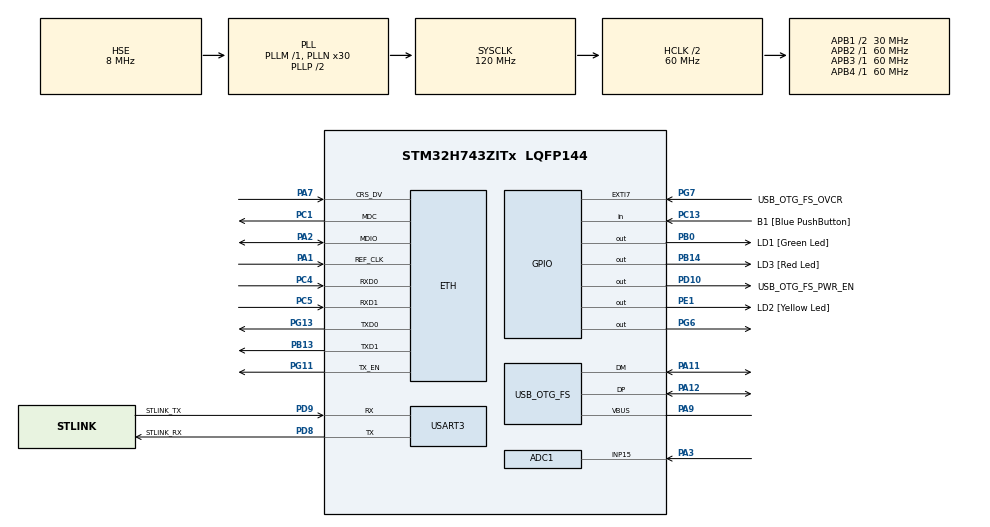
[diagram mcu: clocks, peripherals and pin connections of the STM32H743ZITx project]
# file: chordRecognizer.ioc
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ADC1.Channel-1\#ChannelRegularConversion=ADC_CHANNEL_15
ADC1.ConversionDataManagement=ADC_CONVERSIONDATA_DMA_ONESHOT
ADC1.ExternalTrigConv=ADC_EXTERNALTRIG_T1_TRGO
ADC1.NbrOfConversionFlag=1
ADC1.OffsetNumber-1\#ChannelRegularConversion=ADC_OFFSET_NONE
ADC1.OffsetSignedSaturation-1\#ChannelRegularConversion=DISABLE
ADC1.Rank-1\#ChannelRegularConversion=1
ADC1.SamplingTime-1\#ChannelRegularConversion=ADC_SAMPLETIME_1CYCLE_5
ADC1.master=1
Dma.ADC1.0.Direction=DMA_PERIPH_TO_MEMORY
Dma.ADC1.0.EventEnable=DISABLE
Dma.ADC1.0.FIFOMode=DMA_FIFOMODE_DISABLE
Dma.ADC1.0.Instance=DMA1_Stream0
Dma.ADC1.0.MemDataAlignment=DMA_MDATAALIGN_HALFWORD
Dma.ADC1.0.MemInc=DMA_MINC_ENABLE
Dma.ADC1.0.Mode=DMA_NORMAL
Dma.ADC1.0.PeriphDataAlignment=DMA_PDATAALIGN_HALFWORD
Dma.ADC1.0.PeriphInc=DMA_PINC_DISABLE
Dma.ADC1.0.Polarity=HAL_DMAMUX_REQ_GEN_RISING
Dma.ADC1.0.Priority=DMA_PRIORITY_LOW
Dma.ADC1.0.RequestNumber=1
Dma.ADC1.0.SignalID=NONE
Dma.ADC1.0.SyncEnable=DISABLE
Dma.ADC1.0.SyncPolarity=HAL_DMAMUX_SYNC_NO_EVENT
Dma.ADC1.0.SyncRequestNumber=1
Dma.ADC1.0.SyncSignalID=NONE
Dma.Request0=ADC1
ETH.MediaInterface=HAL_ETH_RMII_MODE
Mcu.Family=STM32H7
Mcu.Name=STM32H743ZITx
Mcu.Package=LQFP144
NVIC.DMA1_Stream0_IRQn=true\:0\:0\:false\:false\:true\:false\:true\:true
NVIC.OTG_FS_IRQn=true\:0\:0\:false\:false\:true\:true\:true\:true
NVIC.PriorityGroup=NVIC_PRIORITYGROUP_4
PA1.Mode=RMII
PA1.Signal=ETH_REF_CLK
PA11.Mode=Host_Only
PA11.Signal=USB_OTG_FS_DM
PA12.Mode=Host_Only
PA12.Signal=USB_OTG_FS_DP
PA2.Mode=RMII
PA2.Signal=ETH_MDIO
PA3.Signal=ADCx_INP15
PA7.Mode=RMII
PA7.Signal=ETH_CRS_DV
PA8.Signal=USB_OTG_FS_SOF
PA9.Mode=Activate_VBUS
PA9.Signal=USB_OTG_FS_VBUS
PB0.GPIO_Label=LD1 [Green Led]
PB0.Signal=GPIO_Output
PB13.Mode=RMII
PB13.Signal=ETH_TXD1
PB14.GPIO_Label=LD3 [Red Led]
PB14.Signal=GPIO_Output
PC1.Mode=RMII
PC1.Signal=ETH_MDC
PC13.GPIO_Label=B1 [Blue PushButton]
PC13.Signal=GPIO_Input
PC14-OSC32_IN\ (OSC32_IN).Mode=LSE-External-Oscillator
PC14-OSC32_IN\ (OSC32_IN).Signal=RCC_OSC32_IN
PC15-OSC32_OUT\ (OSC32_OUT).Mode=LSE-External-Oscillator
PC15-OSC32_OUT\ (OSC32_OUT).Signal=RCC_OSC32_OUT
PC4.Mode=RMII
PC4.Signal=ETH_RXD0
PC5.Mode=RMII
PC5.Signal=ETH_RXD1
PD10.GPIO_Label=USB_OTG_FS_PWR_EN
PD10.Signal=GPIO_Output
PD8.GPIO_Label=STLINK_RX
PD8.Mode=Asynchronous
PD8.Signal=USART3_TX
PD9.GPIO_Label=STLINK_TX
PD9.Mode=Asynchronous
PD9.Signal=USART3_RX
PE1.GPIO_Label=LD2 [Yellow Led]
PE1.Signal=GPIO_Output
PG11.Mode=RMII
PG11.Signal=ETH_TX_EN
PG13.Mode=RMII
PG13.Signal=ETH_TXD0
PG6.Signal=GPIO_Output
PG7.GPIO_Label=USB_OTG_FS_OVCR
PG7.Signal=GPXTI7
PH0-OSC_IN\ (PH0).Mode=HSE-External-Clock-Source
PH0-OSC_IN\ (PH0).Signal=RCC_OSC_IN
PH1-OSC_OUT\ (PH1).Signal=RCC_OSC_OUT
ProjectManager.HeapSize=0x200
ProjectManager.StackSize=0x400
ProjectManager.TargetToolchain=STM32CubeIDE
RCC.ADCFreq_Value=50000000
RCC.APB1Freq_Value=30000000
RCC.APB2Freq_Value=60000000
RCC.APB3Freq_Value=60000000
RCC.APB4Freq_Value=60000000
RCC.CortexFreq_Value=60000000
RCC.D1CPRE=RCC_SYSCLK_DIV2
RCC.D2PPRE1=RCC_APB1_DIV2
RCC.DIVM1=1
RCC.DIVM2=1
RCC.DIVN1=30
RCC.DIVN2=18
RCC.DIVP2=3
RCC.DIVQ1=4
RCC.HCLKFreq_Value=60000000
RCC.HSE_VALUE=8000000
RCC.PLL2FRACN=6144
RCC.PLL3FRACN=0
RCC.PLLFRACN=0
RCC.PWR_Regulator_Voltage_Scale=PWR_REGULATOR_VOLTAGE_SCALE2
RCC.SYSCLKFreq_VALUE=120000000
RCC.SYSCLKSource=RCC_SYSCLKSOURCE_PLLCLK
RCC.USBFreq_Value=60000000
SH.ADCx_INP15.0=ADC1_INP15,IN15-Single-Ended
TIM1.Period=7500-1
TIM1.TIM_MasterOutputTrigger=TIM_TRGO_UPDATE
USART3.VirtualMode-Asynchronous=VM_ASYNC
USB_HOST.BSP.number=1
USB_HOST.USBH_HandleTypeDef-MSC_FS=hUsbHostFS
USB_HOST.VirtualModeFS=Msc
USB_HOST0.BSP.STBoard=false
USB_HOST0.BSP.api=Unknown
USB_HOST0.BSP.instance=PG6
USB_HOST0.BSP.ip=GPIO
USB_HOST0.BSP.mode=Output
USB_HOST0.BSP.name=Drive_VBUS_FS
USB_HOST0.BSP.solution=PG6
USB_OTG_FS.VirtualMode=Host_Only
USB_OTG_FS.phy_itface=HCD_PHY_EMBEDDED
VP_FATFS_VS_USB.Mode=USB
VP_TIM1_VS_ClockSourceINT.Mode=Internal
VP_USB_HOST_VS_USB_HOST_MSC_FS.Mode=MSC_FS
board=NUCLEO-H743ZI2

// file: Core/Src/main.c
/* USER CODE BEGIN Header */
/**
  ******************************************************************************
  * @file           : main.c
  * @brief          : Main program body
  ******************************************************************************
  * @attention
  *
  * Copyright (c) 2022 STMicroelectronics.
  * All rights reserved.
  *
  * This software is licensed under terms that can be found in the LICENSE file
  * in the root directory of this software component.
  * If no LICENSE file comes with this software, it is provided AS-IS.
  *
  ******************************************************************************
  */
/* USER CODE END Header */
#include "main.h"
#include "string.h"
#include "fatfs.h"
#include "usb_host.h"

/* USER CODE BEGIN Includes */
#include "arm_math.h"
#include "my_mfcc.h"
#include "svm.h"
#include <stdio.h>
#include <stdlib.h>
#include <math.h>
#include <time.h>

#define ARM_MATH_CM7
//#define __FPU_PRESENT 1

#define ADC_BUF_SIZE 4*8000
uint16_t ADC_buff[ADC_BUF_SIZE];

uint16_t LPF_buff[ADC_BUF_SIZE];

float32_t ADC_buff_norm[ADC_BUF_SIZE];
float *voice_buff;
int record_done=0;
uint8_t name[20];//name of the file
// USB FatFs
extern ApplicationTypeDef Appli_state;
void writeFile(char filename[],  int16_t *vec, int size);
int loadSVMParams(char filename[], struct svm_model* model);
float compute_power(uint16_t size_in, float *buff_in);
float32_t *removeSilence(uint16_t size_in, float32_t *buff_in, uint16_t *size_out);

#define pi 3.14159265358979323846
#define FFTSize 512

#define n_mfcc 13
uint32_t n_mels = 20;
char chords[12][3] = {"C","Df","D","Ef","E","F",
        			"Gf","G","Af","A","Bf","B"};

uint32_t sample_rate = 8000;
uint32_t freq_min = 0;
uint32_t freq_max = 4000;

float32_t complex_buff[FFTSize*2];
float32_t power_spec_buff[FFTSize/2+1];

float32_t filt_spec_buff[20];
float32_t dct_spec_buff[20];

float sig_mean = 0.0;
uint16_t sig_val = 0;

/* USER CODE END Includes */

#if defined ( __ICCARM__ ) /*!< IAR Compiler */
#pragma location=0x30000000
ETH_DMADescTypeDef  DMARxDscrTab[ETH_RX_DESC_CNT]; /* Ethernet Rx DMA Descriptors */
#pragma location=0x30000200
ETH_DMADescTypeDef  DMATxDscrTab[ETH_TX_DESC_CNT]; /* Ethernet Tx DMA Descriptors */

#elif defined ( __CC_ARM )  /* MDK ARM Compiler */

__attribute__((at(0x30000000))) ETH_DMADescTypeDef  DMARxDscrTab[ETH_RX_DESC_CNT]; /* Ethernet Rx DMA Descriptors */
__attribute__((at(0x30000200))) ETH_DMADescTypeDef  DMATxDscrTab[ETH_TX_DESC_CNT]; /* Ethernet Tx DMA Descriptors */

#elif defined ( __GNUC__ ) /* GNU Compiler */
ETH_DMADescTypeDef DMARxDscrTab[ETH_RX_DESC_CNT] __attribute__((section(".RxDecripSection"))); /* Ethernet Rx DMA Descriptors */
ETH_DMADescTypeDef DMATxDscrTab[ETH_TX_DESC_CNT] __attribute__((section(".TxDecripSection")));   /* Ethernet Tx DMA Descriptors */

#endif

ETH_TxPacketConfig TxConfig;

ADC_HandleTypeDef hadc1;
DMA_HandleTypeDef hdma_adc1;

ETH_HandleTypeDef heth;

TIM_HandleTypeDef htim1;

UART_HandleTypeDef huart3;

void SystemClock_Config(void);
static void MX_GPIO_Init(void);
static void MX_DMA_Init(void);
static void MX_USART3_UART_Init(void);
static void MX_ETH_Init(void);
static void MX_ADC1_Init(void);
static void MX_TIM1_Init(void);
void MX_USB_HOST_Process(void);

/* USER CODE BEGIN 0 */

float *removeSilence(uint16_t size_in, float32_t *buff_in, uint16_t *size_out)
{
	int slide_start, slide_end, start=0, end=size_in, max_idx;
	float max_val=0, avg_power = 0,slide_power = 0.0, threshold = 0.0;
	float *buff_out;
	for(int i=0; i<size_in - 64; i++){
		slide_start = i;
		slide_end = i + 64;
		avg_power = compute_power(64, &buff_in[slide_start]);
		if(avg_power > max_val){

			max_idx = i+32;
			max_val = avg_power;
		}
	}

    slide_start = max_idx - 32;
    slide_end = max_idx + 32;
    avg_power = compute_power(64, &buff_in[slide_start]);

    threshold = 0.125 * avg_power;
    for(int i=max_idx; i<(size_in-32); i++){
        slide_start = i - 32;
        slide_end = i + 32;
        slide_power = compute_power(64, &buff_in[slide_start]);
		if (slide_power < threshold){
			end = slide_end;
			break;
		}
    }
    for(int i=max_idx; i>32; i--){

        slide_start = i - 32;
        slide_end = i + 32;

        slide_power = compute_power(64, &buff_in[slide_start]);
        if (slide_power < threshold){
            start = slide_start;
            break;
        }
    }

	*size_out = end - start;
	if(*size_out > 3*FFTSize){
		// allocate memory for buff_out
		buff_out = (float32_t *)malloc(sizeof(float32_t)*(*size_out));
		for(int i=0; i<*size_out; i++){
			buff_out[i] = buff_in[i+start];
//			n = i;
		}

		return buff_out;
	} else {
		 Error_Handler();
	}

}
float compute_power(uint16_t size_in, float32_t *buff_in)
{
	float acc=0.0;
	for(int i=0; i<size_in; i++){
		acc += buff_in[i] * buff_in[i];
	}
	return sqrtf(acc)/size_in;
}

//
void normalizeSignal(int size, uint16_t *buff_in, float32_t *buff_out);
void normalizeSignal(int size, uint16_t *buff_in, float32_t *buff_out)

{
	int i;
	float mean_val = 0.0, std_val= 0.0;

	for(i = 0; i < size; i++) {
		mean_val += buff_in[i];
	}
	mean_val = mean_val /size;

	for(i = 0; i < size; i++) {
		std_val += powf(buff_in[i] - mean_val,2.0);
	}
	std_val = sqrtf(std_val /size);

	for(i=0; i<size; i++){
		buff_out[i] = ((float32_t)buff_in[i] - mean_val)/(std_val);
	}

}

//void scale_feature()

float freqToMel(float freq);
float melToFreq(float mel);
void powerToDB(uint32_t size, float32_t *real_buff);
void convertToComplex(int size, const float32_t *real_buff, float32_t *complex_buff);
void powerSpectrum(uint32_t size, const float32_t *complex_buff, float32_t *real_buff);
void filteredSpectrum( uint32_t sr, uint32_t n_fft, uint32_t n_mels, float32_t freq_min,
						float32_t freq_max, const float32_t *power_spec_buff,float32_t *filtered_spec);

void normalizeFeature(int size, float *feature, float *mean, float *scale);
/**
 * convert real array to complex array for cFFT
 * example:
 * input real_buff=[1.1, 1.2, 1.3, 1.4, 1.5]
 * output complex_buff=[1.1, 0, 1.2, 0, 1.3, 0, 1.4, 0, 1.5, 0]
 */
void convertToComplex(int size, const float32_t *real_buff, float32_t *complex_buff)
{
	  for(int i = 0; i < size; i++){
		  complex_buff[2*i] = real_buff[i];
		  complex_buff[2*i + 1] = 0;
	  }
}

/**
 * compute power spectrum from FFT complex buff
 * |complex_buff|^2
 * since FFT complex buff is symmetric, only half of this buff is needed
 */
void powerSpectrum(uint32_t size, const float32_t *complex_buff, float32_t *real_buff)
{
	  for(int i=0; i < (size/2+1); i++){
		  real_buff[i] = powf(fabsf(complex_buff[2*i]), 2) + powf(fabsf(complex_buff[2*i + 1]), 2);
	  }
}

/**
 * log transformation
 * real_buff = log(real_buff)
 * in-place operation, real_buff will be updated
 * **/
void powerToDB(uint32_t size, float32_t *real_buff){
	for(int i=0; i<size; i++){
		if(real_buff[i] < 0){
			exit(0); // power spectrum must be non-negative
		}
		real_buff[i] = 10*log10f(real_buff[i]);

//		real_buff[i] = 10*log10f(real_buff[i]);
	}
}

/**
 * Discrete Cosine Transform (DCT type-II)
 * More details refer to https://docs.scipy.org/doc/scipy/reference/generated/scipy.fftpack.dct.html
 */
void dctTransform(uint32_t size, float32_t *buff_in, float32_t *buff_out)
{
	float acc, scale;

	for (int i = 0; i < size; i++) {
		acc = 0.0;
		for (int j = 0; j < size; j++) {
			acc += buff_in[j] * cosf(pi * (j + 0.5) * i / size);
		}
		scale = (i==0) ? sqrtf(1.0/(4.0 * size)) * 2: sqrtf(1.0/(2.0 *size)) * 2;
		buff_out[i] = acc * scale;
	}
}

/**
 * triangular filter band
 */
void filteredSpectrum( uint32_t sr, uint32_t n_fft, uint32_t n_mels, float32_t freq_min,
						float32_t freq_max, const float *power_spec_buff,float *filtered_spec)
{
	float fmin_mel, fmax_mel, mel_step, linear_freq_step, inner_sum;

	int i=0, jth_filter=0;

	float filter[n_fft/2+1];  			// size 257
	float mels[n_mels+2];        		// size 22
	float mels_f[n_mels+2];        	// size 22
	float linar_freq[n_fft/2+1];
	float upper[n_fft/2+1], lower[n_fft/2+1];
	float enorm[n_mels];                // size 20

	fmin_mel = freqToMel(freq_min); 		// 0.0
	fmax_mel = freqToMel(freq_max); 		// 2840.0377

	/** Center freqs of each FFT bin **/
	linear_freq_step =  (sr/2.0 - freq_min)/(n_fft/2);
	for(i=0; i<(n_fft/2+1); i++){
		linar_freq[i] = i*linear_freq_step;
	}

	/** 'Center freqs' of mel bands - uniformly spaced between limits **/
	mel_step =  (fmax_mel - fmin_mel)/(n_mels + 1);
	for(i=0; i<(n_mels+2); i++){
		mels[i] = i*mel_step;
	}
	for(i=0; i<(n_mels+2); i++){
		mels_f[i] = melToFreq(mels[i]);
	}

	/** Slaney-style mel is scaled to be approx constant energy per channel **/
	for(i=0; i<n_mels; i++){
		enorm[i] = 2.0 / (mels_f[i+2] - mels_f[i]);
	}

	/**
	 * iterate all filters
	 */
	for(jth_filter=0; jth_filter<n_mels; jth_filter++){

		/** update upper/lower slop of filter bins**/
		for(i=0; i<(n_fft/2+1); i++){
			lower[i] = (linar_freq[i] - mels_f[jth_filter]) / (mels_f[jth_filter+1]-mels_f[jth_filter]);
		}
		for(i=0; i<(n_fft/2+1); i++){
			upper[i] = (mels_f[jth_filter+2] - linar_freq[i])/ (mels_f[jth_filter+2]-mels_f[jth_filter+1]);
		}

		/** compute filter matrix **/
		for(i=0; i<(n_fft/2+1); i++){
			filter[i] = fmaxf(0, fminf(upper[i], lower[i]));
		}

		/** normalize filter matrix **/
		for(i=0; i<(n_fft/2+1); i++){
			filter[i] *=  enorm[jth_filter];
		}

		/** compute filtered spectrum **/
		inner_sum = 0;
		for(i=0; i<(n_fft/2+1); i++){
			if(filter[i] == 0){
				continue;        //skip zero multiplication
			} else {
				inner_sum += filter[i] * power_spec_buff[i];
			}
		}
		filtered_spec[jth_filter] = inner_sum;
	}

}

float freqToMel(float freq)
{
	return 1127.01048 * log(1 + freq / 700.0);
}

float melToFreq(float mel)
{
	return 700 * (exp(mel / 1127.01048) - 1);
}

/**
 * add hamming window to input signal
 * in-place operation
 */
void hammingWindow(int size, float *real_buff)
{
	float hamming[size];
	for (int i = 0; i < size; i++){
		hamming[i] = 0.54 - 0.46 * cosf(2.0 * (22.0/7.0) * i / (size));
	}

	for (int i = 0; i < size; i++){
		real_buff[i] *= hamming[i];
	}
}

void normalizeFeature(int size, float *feature, float *scaler_min, float *scaler_max)
{

// (X_train.to_numpy()[0] - scaler.data_min_)/(scaler.data_max_ - scaler.data_min_)
	for(int i=0; i<size; i++){
		feature[i] = (feature[i] - scaler_min[i])/(scaler_max[i] - scaler_min[i]);
	}
}
/**
 * compare two vectors
 * if their RMSE value is larger than tolerance, return 1
 * else return 0
 */
int rmse_check(float *a, float *b, int size, float tol)
{
	float error = 0;
	for(int i=0; i<size; i++){
		error += powf(a[i] - b[i], 2);
	}
	error = sqrtf(error/size);

	if(error > tol){
		return 1;
	}
	else {
		return 0;
	}
}

/* USER CODE END 0 */

int main(void)
{

  /* MCU Configuration--------------------------------------------------------*/

  /* Reset of all peripherals, Initializes the Flash interface and the Systick. */

	HAL_Init();

  /* Configure the system clock */
  SystemClock_Config();

  /* Initialize all configured peripherals */
  MX_GPIO_Init();
  MX_DMA_Init();
  MX_USART3_UART_Init();
  MX_ETH_Init();
  MX_ADC1_Init();
  MX_TIM1_Init();
  MX_USB_HOST_Init();
  MX_FATFS_Init();
  /* USER CODE BEGIN 2 */
  if(HAL_ADCEx_Calibration_Start(&hadc1, ADC_CALIB_OFFSET, ADC_SINGLE_ENDED) != HAL_OK){
	  Error_Handler();
  }
  HAL_TIM_Base_Start(&htim1);

  int tests_res = -1;
  // set it to read certain chords from flashdrive
 // tests = 1 -> C, tests = 2 -> C#, etc...
 // tests = 12 -> B
  int tests =2;
  char test_name[20];

  // load SVM parameters from USB
	svm_model model;

	while(1){
		MX_USB_HOST_Process();

		if(Appli_state == APPLICATION_READY) {

////			 read testing voice
//		    voice_buff = read_txt(test_name, ADC_BUF_SIZE);
//		    for(int i=0; i<ADC_BUF_SIZE; i++) {
//		    	ADC_buff[i] = voice_buff[i];
//		    }
//		    free(voice_buff);

		    // load SVM parameters
			loadSVMParams("svmmodel.txt", &model);
			break; 		// load parameter successfully, break while loop

		}
	}

// place breakpoint before recording
	if(HAL_ADC_Start_DMA(&hadc1, (uint32_t *)&ADC_buff, ADC_BUF_SIZE) != HAL_OK){

		Error_Handler();
	}
	while(1) {
		if (record_done == 1) {
			record_done = 0;
			break;
		}
	}
// recording stopped
//
////////	print the values
//    for(int i = 0; i < ADC_BUF_SIZE ; i++) {
//
////    	sig_val = real_voice[i];
//    	printf("%d\n", ADC_buff[i]);
//
//    	HAL_Delay(0.25);
//    }

  /* USER CODE END 2 */

  /* Infinite loop */
  while (1)
  {
    MX_USB_HOST_Process();

    /* USER CODE BEGIN 3 */

	/**  Normalize signal, same range to training set **/

	normalizeSignal(ADC_BUF_SIZE, ADC_buff, ADC_buff_norm);

	/** Remove silence **/
	float32_t *voice_signal;
	uint16_t size_out = 0;
	voice_signal = removeSilence(ADC_BUF_SIZE, ADC_buff_norm, &size_out);   // not robust

	/** Framing **/

	int overlap_size = 128;
	int n_frames = 0;
	while(size_out - FFTSize + overlap_size > 0) {
		size_out -= FFTSize - overlap_size;
		n_frames++;
	}
	if(n_frames < 3){
		Error_Handler();  // we need concatenate 3 frames' MFCC as input features
	}

	int n_res=n_frames/3-1, res;
	int vote_res[model.n_class];
	for(int i=0; i<model.n_class; i++)
		vote_res[i] = 0;

	float32_t mfcc_feature[3*n_mfcc];
//	float32_t mfcc_feature[n_mfcc];
	float32_t frame[FFTSize];

	arm_cfft_instance_f32 fft_handler;
	arm_cfft_init_f32(&fft_handler, 512);

	for(int k=0; k<n_res; k++) {

		for(int i=0; i<3; i++)
//		for (int i = 0 ; i < n_frames; i++)
		{

			/** get a frame**/
			for(int j=0; j<FFTSize; j++){
				frame[j] = voice_signal[k*(1280-overlap_size) + i*(FFTSize-overlap_size) + j];
//				frame[j] = voice_signal[i*(FFTSize-overlap_size) + j];
			}

			/** add hamming window to a frame**/
			hammingWindow(FFTSize, frame);
	//		rmse_check(debug, win_ref, FFTSize, 0.01);

			/** FFT **/
			convertToComplex(FFTSize, frame, complex_buff);

			arm_cfft_f32(&fft_handler, complex_buff, 0, 1);

			/** compute power spectrum**/
			powerSpectrum(FFTSize, complex_buff, power_spec_buff); // power_spec_buff size: FFTSize/2 + 1 = 257

			/** compute filter bank, and use it to get filtered spectrum **/
			filteredSpectrum(sample_rate, FFTSize, n_mels, freq_min, freq_max, power_spec_buff, filt_spec_buff);

			/** log transformation **/
		 	powerToDB(n_mels, filt_spec_buff);

			/**  Discrete Cosine Transform (DCT type-II) **/
			dctTransform(n_mels, filt_spec_buff, dct_spec_buff);

			/**  Concate 3 frame's MFCC features**/
			for(int j=0; j<n_mfcc; j++){
				mfcc_feature[i * n_mfcc + j] = dct_spec_buff[j];
//				mfcc_feature[j] = dct_spec_buff[j];
			}

		}

		/**  normalize MFCC feature **/
		normalizeFeature(model.n_feature, mfcc_feature, model.scaler_min, model.scaler_max);

		 // testing voice result
		 res = svmPredict(mfcc_feature, &model);
		 vote_res[res]++;

  }
//	find the chord with most votes
	int wwcd = 0;
	int the_winner = -1;

	for(int i = 0; i < model.n_class; i++) {
		if(vote_res[i] > the_winner) {
			wwcd = i;
			the_winner = vote_res[i];
		}
	}

	printf("%s major chord.\n", chords[wwcd]);

	wwcd++;
	tests_res = wwcd;

	while(1);
	/*************Write your code start***************/

	// SWV print final results / Or check final results on live expression window

	/*************Write your code End***************/

  }
  /* USER CODE END 3 */
}

void SystemClock_Config(void)
{
  RCC_OscInitTypeDef RCC_OscInitStruct = {0};
  RCC_ClkInitTypeDef RCC_ClkInitStruct = {0};

  /** Supply configuration update enable
  */
  HAL_PWREx_ConfigSupply(PWR_LDO_SUPPLY);

  /** Configure the main internal regulator output voltage
  */
  __HAL_PWR_VOLTAGESCALING_CONFIG(PWR_REGULATOR_VOLTAGE_SCALE2);

  while(!__HAL_PWR_GET_FLAG(PWR_FLAG_VOSRDY)) {}

  /** Macro to configure the PLL clock source
  */
  __HAL_RCC_PLL_PLLSOURCE_CONFIG(RCC_PLLSOURCE_HSE);

  /** Initializes the RCC Oscillators according to the specified parameters
  * in the RCC_OscInitTypeDef structure.
  */
  RCC_OscInitStruct.OscillatorType = RCC_OSCILLATORTYPE_HSE;
  RCC_OscInitStruct.HSEState = RCC_HSE_BYPASS;
  RCC_OscInitStruct.PLL.PLLState = RCC_PLL_ON;
  RCC_OscInitStruct.PLL.PLLSource = RCC_PLLSOURCE_HSE;
  RCC_OscInitStruct.PLL.PLLM = 1;
  RCC_OscInitStruct.PLL.PLLN = 30;
  RCC_OscInitStruct.PLL.PLLP = 2;
  RCC_OscInitStruct.PLL.PLLQ = 4;
  RCC_OscInitStruct.PLL.PLLR = 2;
  RCC_OscInitStruct.PLL.PLLRGE = RCC_PLL1VCIRANGE_3;
  RCC_OscInitStruct.PLL.PLLVCOSEL = RCC_PLL1VCOWIDE;
  RCC_OscInitStruct.PLL.PLLFRACN = 0;
  if (HAL_RCC_OscConfig(&RCC_OscInitStruct) != HAL_OK)
  {
    Error_Handler();
  }

  /** Initializes the CPU, AHB and APB buses clocks
  */
  RCC_ClkInitStruct.ClockType = RCC_CLOCKTYPE_HCLK|RCC_CLOCKTYPE_SYSCLK
                              |RCC_CLOCKTYPE_PCLK1|RCC_CLOCKTYPE_PCLK2
                              |RCC_CLOCKTYPE_D3PCLK1|RCC_CLOCKTYPE_D1PCLK1;
  RCC_ClkInitStruct.SYSCLKSource = RCC_SYSCLKSOURCE_PLLCLK;
  RCC_ClkInitStruct.SYSCLKDivider = RCC_SYSCLK_DIV2;
  RCC_ClkInitStruct.AHBCLKDivider = RCC_HCLK_DIV1;
  RCC_ClkInitStruct.APB3CLKDivider = RCC_APB3_DIV1;
  RCC_ClkInitStruct.APB1CLKDivider = RCC_APB1_DIV2;
  RCC_ClkInitStruct.APB2CLKDivider = RCC_APB2_DIV1;
  RCC_ClkInitStruct.APB4CLKDivider = RCC_APB4_DIV1;

  if (HAL_RCC_ClockConfig(&RCC_ClkInitStruct, FLASH_LATENCY_1) != HAL_OK)
  {
    Error_Handler();
  }
}

static void MX_ADC1_Init(void)
{

  ADC_MultiModeTypeDef multimode = {0};
  ADC_ChannelConfTypeDef sConfig = {0};

  /** Common config
  */
  hadc1.Instance = ADC1;
  hadc1.Init.ClockPrescaler = ADC_CLOCK_ASYNC_DIV4;
  hadc1.Init.Resolution = ADC_RESOLUTION_16B;
  hadc1.Init.ScanConvMode = ADC_SCAN_DISABLE;
  hadc1.Init.EOCSelection = ADC_EOC_SINGLE_CONV;
  hadc1.Init.LowPowerAutoWait = DISABLE;
  hadc1.Init.ContinuousConvMode = DISABLE;
  hadc1.Init.NbrOfConversion = 1;
  hadc1.Init.DiscontinuousConvMode = DISABLE;
  hadc1.Init.ExternalTrigConv = ADC_EXTERNALTRIG_T1_TRGO;
  hadc1.Init.ExternalTrigConvEdge = ADC_EXTERNALTRIGCONVEDGE_RISING;
  hadc1.Init.ConversionDataManagement = ADC_CONVERSIONDATA_DMA_ONESHOT;
  hadc1.Init.Overrun = ADC_OVR_DATA_PRESERVED;
  hadc1.Init.LeftBitShift = ADC_LEFTBITSHIFT_NONE;
  hadc1.Init.OversamplingMode = DISABLE;
  if (HAL_ADC_Init(&hadc1) != HAL_OK)
  {
    Error_Handler();
  }

  /** Configure the ADC multi-mode
  */
  multimode.Mode = ADC_MODE_INDEPENDENT;
  if (HAL_ADCEx_MultiModeConfigChannel(&hadc1, &multimode) != HAL_OK)
  {
    Error_Handler();
  }

  /** Configure Regular Channel
  */
  sConfig.Channel = ADC_CHANNEL_15;
  sConfig.Rank = ADC_REGULAR_RANK_1;
  sConfig.SamplingTime = ADC_SAMPLETIME_1CYCLE_5;
  sConfig.SingleDiff = ADC_SINGLE_ENDED;
  sConfig.OffsetNumber = ADC_OFFSET_NONE;
  sConfig.Offset = 0;
  sConfig.OffsetSignedSaturation = DISABLE;
  if (HAL_ADC_ConfigChannel(&hadc1, &sConfig) != HAL_OK)
  {
    Error_Handler();
  }

}

static void MX_ETH_Init(void)
{

   static uint8_t MACAddr[6];

  heth.Instance = ETH;
  MACAddr[0] = 0x00;
  MACAddr[1] = 0x80;
  MACAddr[2] = 0xE1;
  MACAddr[3] = 0x00;
  MACAddr[4] = 0x00;
  MACAddr[5] = 0x00;
  heth.Init.MACAddr = &MACAddr[0];
  heth.Init.MediaInterface = HAL_ETH_RMII_MODE;
  heth.Init.TxDesc = DMATxDscrTab;
  heth.Init.RxDesc = DMARxDscrTab;
  heth.Init.RxBuffLen = 1524;

  if (HAL_ETH_Init(&heth) != HAL_OK)
  {
    Error_Handler();
  }

  memset(&TxConfig, 0 , sizeof(ETH_TxPacketConfig));
  TxConfig.Attributes = ETH_TX_PACKETS_FEATURES_CSUM | ETH_TX_PACKETS_FEATURES_CRCPAD;
  TxConfig.ChecksumCtrl = ETH_CHECKSUM_IPHDR_PAYLOAD_INSERT_PHDR_CALC;
  TxConfig.CRCPadCtrl = ETH_CRC_PAD_INSERT;

}

static void MX_TIM1_Init(void)
{

  TIM_ClockConfigTypeDef sClockSourceConfig = {0};
  TIM_MasterConfigTypeDef sMasterConfig = {0};

  htim1.Instance = TIM1;
  htim1.Init.Prescaler = 0;
  htim1.Init.CounterMode = TIM_COUNTERMODE_UP;
  htim1.Init.Period = 7500-1;
  htim1.Init.ClockDivision = TIM_CLOCKDIVISION_DIV1;
  htim1.Init.RepetitionCounter = 0;
  htim1.Init.AutoReloadPreload = TIM_AUTORELOAD_PRELOAD_DISABLE;
  if (HAL_TIM_Base_Init(&htim1) != HAL_OK)
  {
    Error_Handler();
  }
  sClockSourceConfig.ClockSource = TIM_CLOCKSOURCE_INTERNAL;
  if (HAL_TIM_ConfigClockSource(&htim1, &sClockSourceConfig) != HAL_OK)
  {
    Error_Handler();
  }
  sMasterConfig.MasterOutputTrigger = TIM_TRGO_UPDATE;
  sMasterConfig.MasterOutputTrigger2 = TIM_TRGO2_RESET;
  sMasterConfig.MasterSlaveMode = TIM_MASTERSLAVEMODE_DISABLE;
  if (HAL_TIMEx_MasterConfigSynchronization(&htim1, &sMasterConfig) != HAL_OK)
  {
    Error_Handler();
  }

}

static void MX_USART3_UART_Init(void)
{

  huart3.Instance = USART3;
  huart3.Init.BaudRate = 115200;
  huart3.Init.WordLength = UART_WORDLENGTH_8B;
  huart3.Init.StopBits = UART_STOPBITS_1;
  huart3.Init.Parity = UART_PARITY_NONE;
  huart3.Init.Mode = UART_MODE_TX_RX;
  huart3.Init.HwFlowCtl = UART_HWCONTROL_NONE;
  huart3.Init.OverSampling = UART_OVERSAMPLING_16;
  huart3.Init.OneBitSampling = UART_ONE_BIT_SAMPLE_DISABLE;
  huart3.Init.ClockPrescaler = UART_PRESCALER_DIV1;
  huart3.AdvancedInit.AdvFeatureInit = UART_ADVFEATURE_NO_INIT;
  if (HAL_UART_Init(&huart3) != HAL_OK)
  {
    Error_Handler();
  }
  if (HAL_UARTEx_SetTxFifoThreshold(&huart3, UART_TXFIFO_THRESHOLD_1_8) != HAL_OK)
  {
    Error_Handler();
  }
  if (HAL_UARTEx_SetRxFifoThreshold(&huart3, UART_RXFIFO_THRESHOLD_1_8) != HAL_OK)
  {
    Error_Handler();
  }
  if (HAL_UARTEx_DisableFifoMode(&huart3) != HAL_OK)
  {
    Error_Handler();
  }

}

static void MX_DMA_Init(void)
{

  /* DMA controller clock enable */
  __HAL_RCC_DMA1_CLK_ENABLE();

  /* DMA interrupt init */
  /* DMA1_Stream0_IRQn interrupt configuration */
  HAL_NVIC_SetPriority(DMA1_Stream0_IRQn, 0, 0);
  HAL_NVIC_EnableIRQ(DMA1_Stream0_IRQn);

}

static void MX_GPIO_Init(void)
{
  GPIO_InitTypeDef GPIO_InitStruct = {0};

  /* GPIO Ports Clock Enable */
  __HAL_RCC_GPIOC_CLK_ENABLE();
  __HAL_RCC_GPIOH_CLK_ENABLE();
  __HAL_RCC_GPIOA_CLK_ENABLE();
  __HAL_RCC_GPIOB_CLK_ENABLE();
  __HAL_RCC_GPIOD_CLK_ENABLE();
  __HAL_RCC_GPIOG_CLK_ENABLE();
  __HAL_RCC_GPIOE_CLK_ENABLE();

  /*Configure GPIO pin Output Level */
  HAL_GPIO_WritePin(GPIOB, LD1_Pin|LD3_Pin, GPIO_PIN_RESET);

  /*Configure GPIO pin Output Level */
  HAL_GPIO_WritePin(USB_OTG_FS_PWR_EN_GPIO_Port, USB_OTG_FS_PWR_EN_Pin, GPIO_PIN_RESET);

  /*Configure GPIO pin Output Level */
  HAL_GPIO_WritePin(GPIOG, GPIO_PIN_6, GPIO_PIN_RESET);

  /*Configure GPIO pin Output Level */
  HAL_GPIO_WritePin(LD2_GPIO_Port, LD2_Pin, GPIO_PIN_RESET);

  /*Configure GPIO pin : B1_Pin */
  GPIO_InitStruct.Pin = B1_Pin;
  GPIO_InitStruct.Mode = GPIO_MODE_INPUT;
  GPIO_InitStruct.Pull = GPIO_NOPULL;
  HAL_GPIO_Init(B1_GPIO_Port, &GPIO_InitStruct);

  /*Configure GPIO pins : LD1_Pin LD3_Pin */
  GPIO_InitStruct.Pin = LD1_Pin|LD3_Pin;
  GPIO_InitStruct.Mode = GPIO_MODE_OUTPUT_PP;
  GPIO_InitStruct.Pull = GPIO_NOPULL;
  GPIO_InitStruct.Speed = GPIO_SPEED_FREQ_LOW;
  HAL_GPIO_Init(GPIOB, &GPIO_InitStruct);

  /*Configure GPIO pin : USB_OTG_FS_PWR_EN_Pin */
  GPIO_InitStruct.Pin = USB_OTG_FS_PWR_EN_Pin;
  GPIO_InitStruct.Mode = GPIO_MODE_OUTPUT_PP;
  GPIO_InitStruct.Pull = GPIO_NOPULL;
  GPIO_InitStruct.Speed = GPIO_SPEED_FREQ_LOW;
  HAL_GPIO_Init(USB_OTG_FS_PWR_EN_GPIO_Port, &GPIO_InitStruct);

  /*Configure GPIO pin : PG6 */
  GPIO_InitStruct.Pin = GPIO_PIN_6;
  GPIO_InitStruct.Mode = GPIO_MODE_OUTPUT_PP;
  GPIO_InitStruct.Pull = GPIO_NOPULL;
  GPIO_InitStruct.Speed = GPIO_SPEED_FREQ_LOW;
  HAL_GPIO_Init(GPIOG, &GPIO_InitStruct);

  /*Configure GPIO pin : USB_OTG_FS_OVCR_Pin */
  GPIO_InitStruct.Pin = USB_OTG_FS_OVCR_Pin;
  GPIO_InitStruct.Mode = GPIO_MODE_IT_RISING;
  GPIO_InitStruct.Pull = GPIO_NOPULL;
  HAL_GPIO_Init(USB_OTG_FS_OVCR_GPIO_Port, &GPIO_InitStruct);

  /*Configure GPIO pin : LD2_Pin */
  GPIO_InitStruct.Pin = LD2_Pin;
  GPIO_InitStruct.Mode = GPIO_MODE_OUTPUT_PP;
  GPIO_InitStruct.Pull = GPIO_NOPULL;
  GPIO_InitStruct.Speed = GPIO_SPEED_FREQ_LOW;
  HAL_GPIO_Init(LD2_GPIO_Port, &GPIO_InitStruct);

}

/* USER CODE BEGIN 4 */
void HAL_ADC_ConvCpltCallback(ADC_HandleTypeDef *hadc){
	if(HAL_ADC_Stop_DMA(&hadc1) != HAL_OK){
		Error_Handler();
	}
	record_done = 1;
}

int _write(int file, char *ptr, int len) {
	int i = 0;
	for(i = 0; i < len; i++)
		ITM_SendChar((*ptr++));
	return len;
}
/* USER CODE END 4 */

void Error_Handler(void)
{
  /* USER CODE BEGIN Error_Handler_Debug */
  /* User can add his own implementation to report the HAL error return state */
  __disable_irq();
  while (1)
  {
	  printf("error");
	  HAL_Delay(10000);
  }
  /* USER CODE END Error_Handler_Debug */
}
